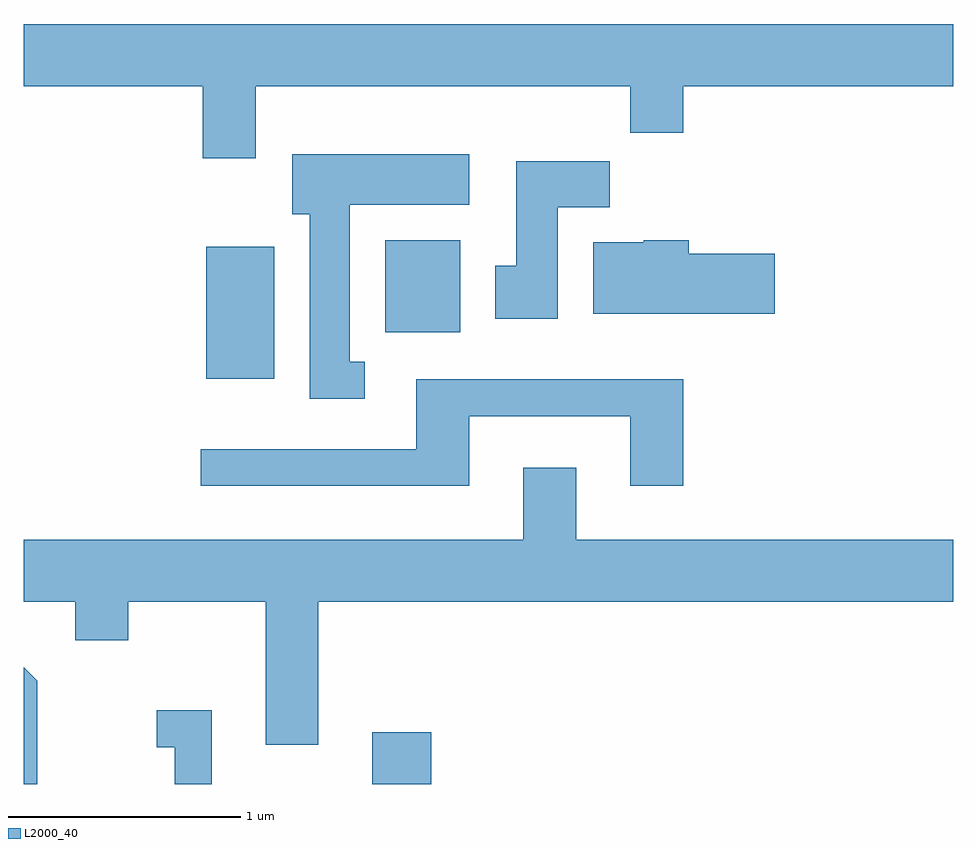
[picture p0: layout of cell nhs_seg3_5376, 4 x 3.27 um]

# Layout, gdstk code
import gdstk
lib = gdstk.Library(unit=1e-6, precision=1e-09)
def R(c, l, rs):  # rectangles x0, y0, x1, y1
    for r in rs: c.add(gdstk.rectangle(r[:2], r[2:], *l))
def P(c, l, *ps):  # polygons
    for p in ps: c.add(gdstk.Polygon(p, *l))
L2000_40 = (2000, 40)

nhs_seg3_5376 = lib.new_cell('nhs_seg3_5376')
R(nhs_seg3_5376, L2000_40, [(345.111,1131.892,345.364,1132.114), (344.396,1133.636,344.689,1134.204), (345.166,1133.836,345.489,1134.234)])
P(nhs_seg3_5376, L2000_40, [(344.609,1134.896),(346.221,1134.896),(346.221,1134.696),(346.449,1134.696),(346.449,1134.896),(347.611,1134.896),(347.611,1135.164),(343.611,1135.164),(343.611,1134.896),(344.381,1134.896),(344.381,1134.586),(344.609,1134.586)],
  [(345.078,1133.709),(345.014,1133.709),(345.014,1134.386),(345.529,1134.386),(345.529,1134.604),(344.766,1134.604),(344.766,1134.346),(344.841,1134.346),(344.841,1133.551),(345.078,1133.551)],
  [(345.909,1134.376),(346.134,1134.376),(346.134,1134.574),(345.731,1134.574),(345.731,1134.124),(345.641,1134.124),(345.641,1133.896),(345.909,1133.896)],
  [(346.844,1134.174),(346.474,1134.174),(346.474,1134.234),(346.28,1134.234),(346.28,1134.224),(346.061,1134.224),(346.061,1133.916),(346.844,1133.916)],
  [(345.529,1133.476),(346.221,1133.476),(346.221,1133.176),(346.449,1133.176),(346.449,1133.634),(345.301,1133.634),(345.301,1133.334),(344.373,1133.334),(344.373,1133.176),(345.529,1133.176)],
  [(343.611,1132.676),(343.831,1132.676),(343.831,1132.511),(344.059,1132.511),(344.059,1132.676),(344.651,1132.676),(344.651,1132.061),(344.879,1132.061),(344.879,1132.676),(347.611,1132.676),(347.611,1132.944),(345.989,1132.944),(345.989,1133.254),(345.761,1133.254),(345.761,1132.944),(343.611,1132.944)],
  [(343.669,1132.337),(343.611,1132.395),(343.611,1131.892),(343.669,1131.892)],
  [(344.419,1132.209),(344.183,1132.209),(344.183,1132.051),(344.261,1132.051),(344.261,1131.892),(344.419,1131.892)])

lib.write_gds('nhs_seg3_5376.gds')
